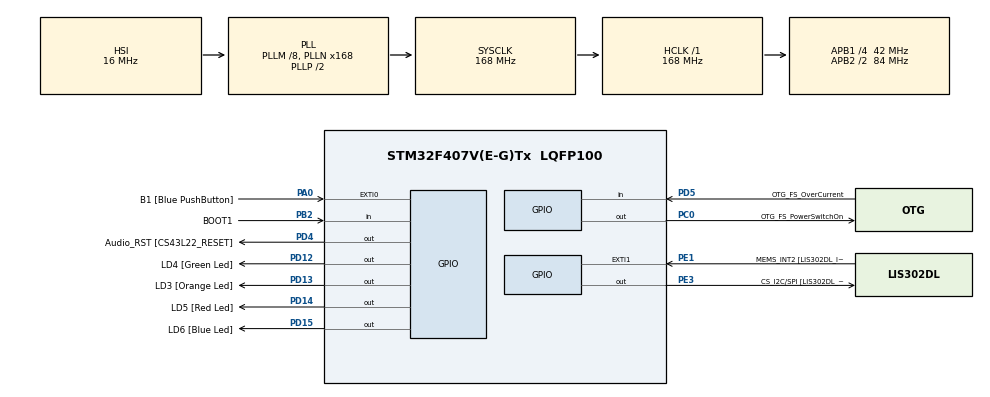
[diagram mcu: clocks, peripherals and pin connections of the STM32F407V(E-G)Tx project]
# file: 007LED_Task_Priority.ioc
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Mcu.Family=STM32F4
Mcu.Name=STM32F407V(E-G)Tx
Mcu.Package=LQFP100
NVIC.EXTI0_IRQn=true\:6\:0\:true\:false\:true\:true\:false\:true
NVIC.PriorityGroup=NVIC_PRIORITYGROUP_4
NVIC.TIM6_DAC_IRQn=true\:0\:0\:false\:false\:true\:false\:true\:true
NVIC.TimeBase=TIM6_DAC_IRQn
NVIC.TimeBaseIP=TIM6
PA0-WKUP.GPIO_Label=B1 [Blue PushButton]
PA0-WKUP.GPIO_ModeDefaultEXTI=GPIO_MODE_IT_FALLING
PA0-WKUP.Signal=GPXTI0
PA10.GPIO_Label=OTG_FS_ID
PA10.GPIO_Mode=GPIO_MODE_AF_PP
PA10.GPIO_PuPd=GPIO_NOPULL
PA10.GPIO_Speed=GPIO_SPEED_FREQ_LOW
PA10.Signal=USB_OTG_FS_ID
PA11.GPIO_Label=OTG_FS_DM
PA11.GPIO_Mode=GPIO_MODE_AF_PP
PA11.GPIO_PuPd=GPIO_NOPULL
PA11.GPIO_Speed=GPIO_SPEED_FREQ_LOW
PA11.Signal=USB_OTG_FS_DM
PA12.GPIO_Label=OTG_FS_DP
PA12.GPIO_Mode=GPIO_MODE_AF_PP
PA12.GPIO_PuPd=GPIO_NOPULL
PA12.GPIO_Speed=GPIO_SPEED_FREQ_LOW
PA12.Signal=USB_OTG_FS_DP
PA13.GPIO_Label=SWDIO
PA13.Signal=SYS_JTMS-SWDIO
PA14.GPIO_Label=SWCLK
PA14.Signal=SYS_JTCK-SWCLK
PA4.GPIO_Label=I2S3_WS [CS43L22_LRCK]
PA4.GPIO_Mode=GPIO_MODE_AF_PP
PA4.GPIO_PuPd=GPIO_NOPULL
PA4.GPIO_Speed=GPIO_SPEED_FREQ_LOW
PA4.Signal=I2S3_WS
PA5.GPIO_Label=SPI1_SCK [LIS302DL_SCL/SPC]
PA5.GPIO_Mode=GPIO_MODE_AF_PP
PA5.GPIO_PuPd=GPIO_NOPULL
PA5.GPIO_Speed=GPIO_SPEED_FREQ_LOW
PA5.Signal=SPI1_SCK
PA6.GPIO_Label=SPI1_MISO [LIS302DL_SDO]
PA6.GPIO_Mode=GPIO_MODE_AF_PP
PA6.GPIO_PuPd=GPIO_NOPULL
PA6.GPIO_Speed=GPIO_SPEED_FREQ_LOW
PA6.Signal=SPI1_MISO
PA7.GPIO_Label=SPI1_MOSI [LIS302DL_SDA/SDI/SDO]
PA7.GPIO_Mode=GPIO_MODE_AF_PP
PA7.GPIO_PuPd=GPIO_NOPULL
PA7.GPIO_Speed=GPIO_SPEED_FREQ_LOW
PA7.Signal=SPI1_MOSI
PA9.GPIO_Label=VBUS_FS
PA9.GPIO_Mode=GPIO_MODE_INPUT
PA9.GPIO_PuPd=GPIO_NOPULL
PA9.Signal=USB_OTG_FS_VBUS
PB10.GPIO_Label=CLK_IN [MP45DT02_CLK]
PB10.GPIO_Mode=GPIO_MODE_AF_PP
PB10.GPIO_PuPd=GPIO_NOPULL
PB10.GPIO_Speed=GPIO_SPEED_FREQ_LOW
PB10.Signal=I2S2_CK
PB2.GPIO_Label=BOOT1
PB2.GPIO_Mode=GPIO_MODE_INPUT
PB2.GPIO_PuPd=GPIO_NOPULL
PB2.Signal=GPIO_Input
PB3.GPIO_Label=SWO
PB3.Signal=SYS_JTDO-SWO
PB6.GPIO_Label=Audio_SCL [CS43L22_SCL]
PB6.GPIO_Mode=GPIO_MODE_AF_OD
PB6.GPIO_PuPd=GPIO_NOPULL
PB6.GPIO_Speed=GPIO_SPEED_FREQ_LOW
PB6.Signal=I2C1_SCL
PB9.GPIO_Label=Audio_SDA [CS43L22_SDA]
PB9.GPIO_Mode=GPIO_MODE_AF_OD
PB9.GPIO_PuPd=GPIO_NOPULL
PB9.GPIO_Speed=GPIO_SPEED_FREQ_LOW
PB9.Signal=I2C1_SDA
PC0.GPIO_Label=OTG_FS_PowerSwitchOn
PC0.GPIO_PuPd=GPIO_NOPULL
PC0.GPIO_Speed=GPIO_SPEED_FREQ_LOW
PC0.PinState=GPIO_PIN_SET
PC0.Signal=GPIO_Output
PC10.GPIO_Label=I2S3_SCK [CS43L22_SCLK]
PC10.GPIO_Mode=GPIO_MODE_AF_PP
PC10.GPIO_PuPd=GPIO_NOPULL
PC10.GPIO_Speed=GPIO_SPEED_FREQ_LOW
PC10.Signal=I2S3_CK
PC12.GPIO_Label=I2S3_SD [CS43L22_SDIN]
PC12.GPIO_Mode=GPIO_MODE_AF_PP
PC12.GPIO_PuPd=GPIO_NOPULL
PC12.GPIO_Speed=GPIO_SPEED_FREQ_LOW
PC12.Signal=I2S3_SD
PC14-OSC32_IN.GPIO_Label=PC14-OSC32_IN
PC14-OSC32_IN.Signal=RCC_OSC32_IN
PC15-OSC32_OUT.GPIO_Label=PC15-OSC32_OUT
PC15-OSC32_OUT.Signal=RCC_OSC32_OUT
PC3.GPIO_Label=PDM_OUT [MP45DT02_DOUT]
PC3.GPIO_Mode=GPIO_MODE_AF_PP
PC3.GPIO_PuPd=GPIO_NOPULL
PC3.GPIO_Speed=GPIO_SPEED_FREQ_LOW
PC3.Signal=I2S2_SD
PC7.GPIO_Label=I2S3_MCK [CS43L22_MCLK]
PC7.GPIO_Mode=GPIO_MODE_AF_PP
PC7.GPIO_PuPd=GPIO_NOPULL
PC7.GPIO_Speed=GPIO_SPEED_FREQ_LOW
PC7.Signal=I2S3_MCK
PD12.GPIO_Label=LD4 [Green Led]
PD12.GPIO_PuPd=GPIO_NOPULL
PD12.GPIO_Speed=GPIO_SPEED_FREQ_LOW
PD12.Signal=GPIO_Output
PD13.GPIO_Label=LD3 [Orange Led]
PD13.GPIO_PuPd=GPIO_NOPULL
PD13.GPIO_Speed=GPIO_SPEED_FREQ_LOW
PD13.Signal=GPIO_Output
PD14.GPIO_Label=LD5 [Red Led]
PD14.GPIO_PuPd=GPIO_NOPULL
PD14.GPIO_Speed=GPIO_SPEED_FREQ_LOW
PD14.Signal=GPIO_Output
PD15.GPIO_Label=LD6 [Blue Led]
PD15.GPIO_PuPd=GPIO_NOPULL
PD15.GPIO_Speed=GPIO_SPEED_FREQ_LOW
PD15.Signal=GPIO_Output
PD4.GPIO_Label=Audio_RST [CS43L22_RESET]
PD4.GPIO_PuPd=GPIO_NOPULL
PD4.GPIO_Speed=GPIO_SPEED_FREQ_LOW
PD4.Signal=GPIO_Output
PD5.GPIO_Label=OTG_FS_OverCurrent
PD5.GPIO_Mode=GPIO_MODE_INPUT
PD5.GPIO_PuPd=GPIO_NOPULL
PD5.Signal=GPIO_Input
PE1.GPIO_Label=MEMS_INT2 [LIS302DL_INT2]
PE1.GPIO_ModeDefaultEXTI=GPIO_MODE_EVT_RISING
PE1.GPIO_PuPd=GPIO_NOPULL
PE1.Signal=GPXTI1
PE3.GPIO_Label=CS_I2C/SPI [LIS302DL_CS_I2C/SPI]
PE3.GPIO_PuPd=GPIO_NOPULL
PE3.GPIO_Speed=GPIO_SPEED_FREQ_LOW
PE3.Signal=GPIO_Output
PH0-OSC_IN.GPIO_Label=PH0-OSC_IN
PH0-OSC_IN.Signal=RCC_OSC_IN
PH1-OSC_OUT.GPIO_Label=PH1-OSC_OUT
PH1-OSC_OUT.Signal=RCC_OSC_OUT
ProjectManager.HeapSize=0x200
ProjectManager.StackSize=0x400
ProjectManager.TargetToolchain=STM32CubeIDE
RCC.48MHZClocksFreq_Value=48000000
RCC.AHBFreq_Value=168000000
RCC.APB1CLKDivider=RCC_HCLK_DIV4
RCC.APB1Freq_Value=42000000
RCC.APB1TimFreq_Value=84000000
RCC.APB2CLKDivider=RCC_HCLK_DIV2
RCC.APB2Freq_Value=84000000
RCC.APB2TimFreq_Value=168000000
RCC.CortexFreq_Value=168000000
RCC.HCLKFreq_Value=168000000
RCC.HSE_VALUE=8000000
RCC.HSI_VALUE=16000000
RCC.LSE_VALUE=32768
RCC.PLLM=8
RCC.PLLN=168
RCC.PLLQ=7
RCC.SYSCLKFreq_VALUE=168000000
RCC.SYSCLKSource=RCC_SYSCLKSOURCE_PLLCLK
RCC.VCOOutputFreq_Value=336000000
VP_SYS_VS_tim6.Mode=TIM6
board=STM32F407G-DISC1

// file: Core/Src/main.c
/* USER CODE BEGIN Header */
/**
  ******************************************************************************
  * @file           : main.c
  * @brief          : Main program body
  ******************************************************************************
  * @attention
  *
  * Copyright (c) 2024 STMicroelectronics.
  * All rights reserved.
  *
  * This software is licensed under terms that can be found in the LICENSE file
  * in the root directory of this software component.
  * If no LICENSE file comes with this software, it is provided AS-IS.
  *
  ******************************************************************************
  */
/* USER CODE END Header */
#include "main.h"

/* USER CODE BEGIN Includes */
#include <stdio.h>
#include "FreeRTOS.h"
#include "task.h"
/* USER CODE END Includes */

/* USER CODE BEGIN PD */
#define DWT_CTRL	(*(volatile uint32_t*)0xE0001000)

/* USER CODE END PD */

/* USER CODE BEGIN PV */

volatile BaseType_t status_button = 0;

/* USER CODE END PV */

void SystemClock_Config(void);
static void MX_GPIO_Init(void);
/* USER CODE BEGIN PFP */

static void led_green_handler(void* parameters);
static void led_red_handler(void* parameters);

extern  void SEGGER_UART_init(uint32_t);

TaskHandle_t ledg_task_handle;
TaskHandle_t ledr_task_handle;

/* USER CODE END PFP */

int main(void)
{
  /* USER CODE BEGIN 1 */

  BaseType_t status;
  /* USER CODE END 1 */

  /* MCU Configuration--------------------------------------------------------*/

  /* Reset of all peripherals, Initializes the Flash interface and the Systick. */
  HAL_Init();

  /* Configure the system clock */
  SystemClock_Config();

  /* Initialize all configured peripherals */
  MX_GPIO_Init();
  /* USER CODE BEGIN 2 */

  DWT->CYCCNT = 0;

  DWT->CTRL |= DWT_CTRL_CYCCNTENA_Msk;

  //SEGGER_UART_init(250000);

  SEGGER_SYSVIEW_Conf();

  status = xTaskCreate(led_green_handler, "LED_green", 200, NULL, 2, &ledg_task_handle);

  configASSERT(status == pdPASS);

  status = xTaskCreate(led_red_handler, "LED_red", 200, NULL, 3, &ledr_task_handle);

  configASSERT(status == pdPASS);

  vTaskStartScheduler();

  /* USER CODE END 2 */

  /* Infinite loop */
  while (1)
  {

  }
}

void SystemClock_Config(void)
{
  RCC_OscInitTypeDef RCC_OscInitStruct = {0};
  RCC_ClkInitTypeDef RCC_ClkInitStruct = {0};

  /** Configure the main internal regulator output voltage
  */
  __HAL_RCC_PWR_CLK_ENABLE();
  __HAL_PWR_VOLTAGESCALING_CONFIG(PWR_REGULATOR_VOLTAGE_SCALE1);

  /** Initializes the RCC Oscillators according to the specified parameters
  * in the RCC_OscInitTypeDef structure.
  */
  RCC_OscInitStruct.OscillatorType = RCC_OSCILLATORTYPE_HSI;
  RCC_OscInitStruct.HSIState = RCC_HSI_ON;
  RCC_OscInitStruct.HSICalibrationValue = RCC_HSICALIBRATION_DEFAULT;
  RCC_OscInitStruct.PLL.PLLState = RCC_PLL_ON;
  RCC_OscInitStruct.PLL.PLLSource = RCC_PLLSOURCE_HSI;
  RCC_OscInitStruct.PLL.PLLM = 8;
  RCC_OscInitStruct.PLL.PLLN = 168;
  RCC_OscInitStruct.PLL.PLLP = RCC_PLLP_DIV2;
  RCC_OscInitStruct.PLL.PLLQ = 7;
  if (HAL_RCC_OscConfig(&RCC_OscInitStruct) != HAL_OK)
  {
    Error_Handler();
  }

  /** Initializes the CPU, AHB and APB buses clocks
  */
  RCC_ClkInitStruct.ClockType = RCC_CLOCKTYPE_HCLK|RCC_CLOCKTYPE_SYSCLK
                              |RCC_CLOCKTYPE_PCLK1|RCC_CLOCKTYPE_PCLK2;
  RCC_ClkInitStruct.SYSCLKSource = RCC_SYSCLKSOURCE_PLLCLK;
  RCC_ClkInitStruct.AHBCLKDivider = RCC_SYSCLK_DIV1;
  RCC_ClkInitStruct.APB1CLKDivider = RCC_HCLK_DIV4;
  RCC_ClkInitStruct.APB2CLKDivider = RCC_HCLK_DIV2;

  if (HAL_RCC_ClockConfig(&RCC_ClkInitStruct, FLASH_LATENCY_5) != HAL_OK)
  {
    Error_Handler();
  }
}

static void MX_GPIO_Init(void)
{
  GPIO_InitTypeDef GPIO_InitStruct = {0};

  /* GPIO Ports Clock Enable */
  __HAL_RCC_GPIOE_CLK_ENABLE();
  __HAL_RCC_GPIOC_CLK_ENABLE();
  __HAL_RCC_GPIOH_CLK_ENABLE();
  __HAL_RCC_GPIOA_CLK_ENABLE();
  __HAL_RCC_GPIOB_CLK_ENABLE();
  __HAL_RCC_GPIOD_CLK_ENABLE();

  /*Configure GPIO pin Output Level */
  HAL_GPIO_WritePin(CS_I2C_SPI_GPIO_Port, CS_I2C_SPI_Pin, GPIO_PIN_RESET);

  /*Configure GPIO pin Output Level */
  HAL_GPIO_WritePin(OTG_FS_PowerSwitchOn_GPIO_Port, OTG_FS_PowerSwitchOn_Pin, GPIO_PIN_SET);

  /*Configure GPIO pin Output Level */
  HAL_GPIO_WritePin(GPIOD, LD4_Pin|LD3_Pin|LD5_Pin|LD6_Pin
                          |Audio_RST_Pin, GPIO_PIN_RESET);

  /*Configure GPIO pin : CS_I2C_SPI_Pin */
  GPIO_InitStruct.Pin = CS_I2C_SPI_Pin;
  GPIO_InitStruct.Mode = GPIO_MODE_OUTPUT_PP;
  GPIO_InitStruct.Pull = GPIO_NOPULL;
  GPIO_InitStruct.Speed = GPIO_SPEED_FREQ_LOW;
  HAL_GPIO_Init(CS_I2C_SPI_GPIO_Port, &GPIO_InitStruct);

  /*Configure GPIO pin : OTG_FS_PowerSwitchOn_Pin */
  GPIO_InitStruct.Pin = OTG_FS_PowerSwitchOn_Pin;
  GPIO_InitStruct.Mode = GPIO_MODE_OUTPUT_PP;
  GPIO_InitStruct.Pull = GPIO_NOPULL;
  GPIO_InitStruct.Speed = GPIO_SPEED_FREQ_LOW;
  HAL_GPIO_Init(OTG_FS_PowerSwitchOn_GPIO_Port, &GPIO_InitStruct);

  /*Configure GPIO pin : PDM_OUT_Pin */
  GPIO_InitStruct.Pin = PDM_OUT_Pin;
  GPIO_InitStruct.Mode = GPIO_MODE_AF_PP;
  GPIO_InitStruct.Pull = GPIO_NOPULL;
  GPIO_InitStruct.Speed = GPIO_SPEED_FREQ_LOW;
  GPIO_InitStruct.Alternate = GPIO_AF5_SPI2;
  HAL_GPIO_Init(PDM_OUT_GPIO_Port, &GPIO_InitStruct);

  /*Configure GPIO pin : B1_Pin */
  GPIO_InitStruct.Pin = B1_Pin;
  GPIO_InitStruct.Mode = GPIO_MODE_IT_FALLING;
  GPIO_InitStruct.Pull = GPIO_NOPULL;
  HAL_GPIO_Init(B1_GPIO_Port, &GPIO_InitStruct);

  /*Configure GPIO pin : I2S3_WS_Pin */
  GPIO_InitStruct.Pin = I2S3_WS_Pin;
  GPIO_InitStruct.Mode = GPIO_MODE_AF_PP;
  GPIO_InitStruct.Pull = GPIO_NOPULL;
  GPIO_InitStruct.Speed = GPIO_SPEED_FREQ_LOW;
  GPIO_InitStruct.Alternate = GPIO_AF6_SPI3;
  HAL_GPIO_Init(I2S3_WS_GPIO_Port, &GPIO_InitStruct);

  /*Configure GPIO pins : SPI1_SCK_Pin SPI1_MISO_Pin SPI1_MOSI_Pin */
  GPIO_InitStruct.Pin = SPI1_SCK_Pin|SPI1_MISO_Pin|SPI1_MOSI_Pin;
  GPIO_InitStruct.Mode = GPIO_MODE_AF_PP;
  GPIO_InitStruct.Pull = GPIO_NOPULL;
  GPIO_InitStruct.Speed = GPIO_SPEED_FREQ_LOW;
  GPIO_InitStruct.Alternate = GPIO_AF5_SPI1;
  HAL_GPIO_Init(GPIOA, &GPIO_InitStruct);

  /*Configure GPIO pin : BOOT1_Pin */
  GPIO_InitStruct.Pin = BOOT1_Pin;
  GPIO_InitStruct.Mode = GPIO_MODE_INPUT;
  GPIO_InitStruct.Pull = GPIO_NOPULL;
  HAL_GPIO_Init(BOOT1_GPIO_Port, &GPIO_InitStruct);

  /*Configure GPIO pin : CLK_IN_Pin */
  GPIO_InitStruct.Pin = CLK_IN_Pin;
  GPIO_InitStruct.Mode = GPIO_MODE_AF_PP;
  GPIO_InitStruct.Pull = GPIO_NOPULL;
  GPIO_InitStruct.Speed = GPIO_SPEED_FREQ_LOW;
  GPIO_InitStruct.Alternate = GPIO_AF5_SPI2;
  HAL_GPIO_Init(CLK_IN_GPIO_Port, &GPIO_InitStruct);

  /*Configure GPIO pins : LD4_Pin LD3_Pin LD5_Pin LD6_Pin
                           Audio_RST_Pin */
  GPIO_InitStruct.Pin = LD4_Pin|LD3_Pin|LD5_Pin|LD6_Pin
                          |Audio_RST_Pin;
  GPIO_InitStruct.Mode = GPIO_MODE_OUTPUT_PP;
  GPIO_InitStruct.Pull = GPIO_NOPULL;
  GPIO_InitStruct.Speed = GPIO_SPEED_FREQ_LOW;
  HAL_GPIO_Init(GPIOD, &GPIO_InitStruct);

  /*Configure GPIO pins : I2S3_MCK_Pin I2S3_SCK_Pin I2S3_SD_Pin */
  GPIO_InitStruct.Pin = I2S3_MCK_Pin|I2S3_SCK_Pin|I2S3_SD_Pin;
  GPIO_InitStruct.Mode = GPIO_MODE_AF_PP;
  GPIO_InitStruct.Pull = GPIO_NOPULL;
  GPIO_InitStruct.Speed = GPIO_SPEED_FREQ_LOW;
  GPIO_InitStruct.Alternate = GPIO_AF6_SPI3;
  HAL_GPIO_Init(GPIOC, &GPIO_InitStruct);

  /*Configure GPIO pin : VBUS_FS_Pin */
  GPIO_InitStruct.Pin = VBUS_FS_Pin;
  GPIO_InitStruct.Mode = GPIO_MODE_INPUT;
  GPIO_InitStruct.Pull = GPIO_NOPULL;
  HAL_GPIO_Init(VBUS_FS_GPIO_Port, &GPIO_InitStruct);

  /*Configure GPIO pins : OTG_FS_ID_Pin OTG_FS_DM_Pin OTG_FS_DP_Pin */
  GPIO_InitStruct.Pin = OTG_FS_ID_Pin|OTG_FS_DM_Pin|OTG_FS_DP_Pin;
  GPIO_InitStruct.Mode = GPIO_MODE_AF_PP;
  GPIO_InitStruct.Pull = GPIO_NOPULL;
  GPIO_InitStruct.Speed = GPIO_SPEED_FREQ_LOW;
  GPIO_InitStruct.Alternate = GPIO_AF10_OTG_FS;
  HAL_GPIO_Init(GPIOA, &GPIO_InitStruct);

  /*Configure GPIO pin : OTG_FS_OverCurrent_Pin */
  GPIO_InitStruct.Pin = OTG_FS_OverCurrent_Pin;
  GPIO_InitStruct.Mode = GPIO_MODE_INPUT;
  GPIO_InitStruct.Pull = GPIO_NOPULL;
  HAL_GPIO_Init(OTG_FS_OverCurrent_GPIO_Port, &GPIO_InitStruct);

  /*Configure GPIO pins : Audio_SCL_Pin Audio_SDA_Pin */
  GPIO_InitStruct.Pin = Audio_SCL_Pin|Audio_SDA_Pin;
  GPIO_InitStruct.Mode = GPIO_MODE_AF_OD;
  GPIO_InitStruct.Pull = GPIO_NOPULL;
  GPIO_InitStruct.Speed = GPIO_SPEED_FREQ_LOW;
  GPIO_InitStruct.Alternate = GPIO_AF4_I2C1;
  HAL_GPIO_Init(GPIOB, &GPIO_InitStruct);

  /*Configure GPIO pin : MEMS_INT2_Pin */
  GPIO_InitStruct.Pin = MEMS_INT2_Pin;
  GPIO_InitStruct.Mode = GPIO_MODE_EVT_RISING;
  GPIO_InitStruct.Pull = GPIO_NOPULL;
  HAL_GPIO_Init(MEMS_INT2_GPIO_Port, &GPIO_InitStruct);

  /* EXTI interrupt init*/
  HAL_NVIC_SetPriority(EXTI0_IRQn, 6, 0);
  HAL_NVIC_EnableIRQ(EXTI0_IRQn);

}

/* USER CODE BEGIN 4 */

void switch_priority(void)
{
	UBaseType_t p1, p2;
	TaskHandle_t t1, t2, curr;

	BaseType_t switch_priority = 0;

	portENTER_CRITICAL();
	if (status_button) {
		status_button = 0;
		switch_priority = 1;
	}
	portEXIT_CRITICAL();

	if (switch_priority) {
		t1 = xTaskGetHandle("LED_green");
		t2 = xTaskGetHandle("LED_red");

		p1 = uxTaskPriorityGet(t1);
		p2 = uxTaskPriorityGet(t2);

		curr = xTaskGetCurrentTaskHandle();

		if (curr == t1) {
			vTaskPrioritySet(t1, p2);
			vTaskPrioritySet(t2, p1);
		} else {
			vTaskPrioritySet(t2, p1);
			vTaskPrioritySet(t1, p2);
		}

	}
}

void button_interrupt_handler(void)
{
	traceISR_ENTER();
	status_button = 1;
	traceISR_EXIT();
}

static void led_green_handler(void* parameters)
{

	while(1) {
		HAL_GPIO_TogglePin(GPIOD, LED_GREEN_PIN);
		HAL_Delay(1000);
		switch_priority();
	}
}

static void led_red_handler(void* parameters)
{

	while(1) {
		HAL_GPIO_TogglePin(GPIOD, LED_RED_PIN);
		HAL_Delay(100);
		switch_priority();
	}
}

/* USER CODE END 4 */

void HAL_TIM_PeriodElapsedCallback(TIM_HandleTypeDef *htim)
{
  if (htim->Instance == TIM6) {
    HAL_IncTick();
  }
}

void Error_Handler(void)
{
  __disable_irq();
  while (1)
  {
  }
}
